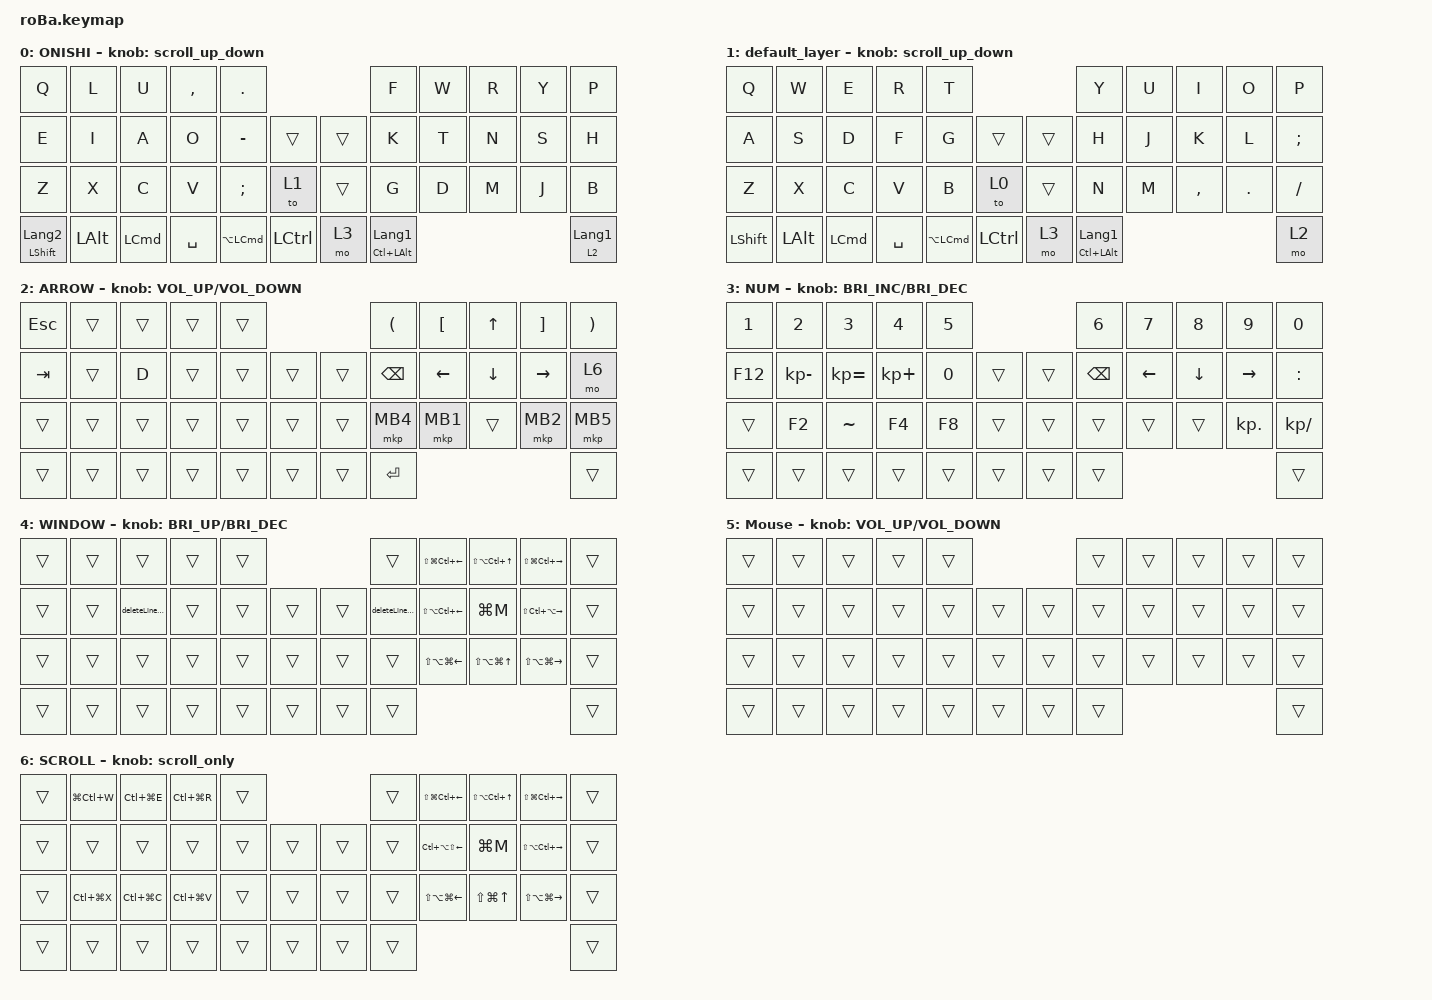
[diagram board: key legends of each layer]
#include <behaviors.dtsi>
#include <dt-bindings/zmk/keys.h>
#include <dt-bindings/zmk/pointing.h>

&mt {
    tapping-term-ms = <150>;
    flavor = "tap-preferred";
};

&lt {
    flavor = "hold-preferred";
    tapping-term-ms = <110>;
    quick-tap-ms = <80>;
};

/ {
    combos {
        compatible = "zmk,combos";

        double_quotation {
            bindings = <&kp APOSTROPHE>;
            key-positions = <32 31>;
        };

        PW {
            bindings = <&PW>;
            key-positions = <18 19 20>;
        };

        pw2 {
            bindings = <&pw2>;
            key-positions = <17 18 19>;
        };

        back-quote {
            bindings = <&kp GRAVE>;
            key-positions = <30 31>;
        };

        minus {
            bindings = <&kp MINUS>;
            key-positions = <18 19>;
        };

        backspace {
            bindings = <&kp BACKSPACE>;
            key-positions = <17 18>;
        };

        delete {
            bindings = <&kp DELETE>;
            key-positions = <29 30>;
        };

        equal {
            bindings = <&kp EQUAL>;
            key-positions = <20 19>;
        };

        backslash {
            bindings = <&kp BACKSLASH>;
            key-positions = <7 8>;
        };

        slash {
            bindings = <&kp SLASH>;
            key-positions = <6 7>;
        };

        semicolon {
            bindings = <&kp SEMICOLON>;
            key-positions = <21 20>;
        };

        commandSpace {
            bindings = <&ctrlSpace>;
            key-positions = <13 12>;
        };
    };

    macros {
        PW: PW {
            compatible = "zmk,behavior-macro";
            #binding-cells = <0>;
            bindings = <&kp T &kp I &kp M &kp E &kp S &kp P &kp A &kp C &kp E &kp R &kp N8 &kp N1 &kp N7>;
            label = "PW";
        };

        divider: divider {
            compatible = "zmk,behavior-macro";
            #binding-cells = <0>;
            bindings = <&kp LANGUAGE_2 &kp FSLH>;
            label = "DIVIDER";
        };

        pw2: pw2 {
            compatible = "zmk,behavior-macro";
            #binding-cells = <0>;
            bindings = <&none &kp T &kp I &kp M &kp E &kp AT &kp LS(S) &kp P &kp A &kp C &kp E &kp R &kp N8 &kp N1 &kp N7>;
            label = "PW2";
        };

        deleteLineBackword: deleteLine {
            compatible = "zmk,behavior-macro";
            #binding-cells = <0>;
            bindings = <&kp LS(LG(LEFT)) &kp BACKSPACE>;
            label = "DELETELINE";
        };

        deleteLineForward: deleteLineForward {
            compatible = "zmk,behavior-macro";
            #binding-cells = <0>;
            bindings = <&kp LS(LG(RIGHT_ARROW)) &kp BACKSPACE>;
            label = "DELETELINEFORWARD";
        };

        ctrlSpace: ctrlSpace {
            compatible = "zmk,behavior-macro";
            #binding-cells = <0>;
            bindings = <&kp LEFT_COMMAND &kp SPACE>;
            label = "CTRLSPACE";
        };
    };

    behaviors {
        scroll_up_down: scroll_up_down {
            compatible = "zmk,behavior-sensor-rotate";
            label = "SCROLL_UP_DOWN";
            #sensor-binding-cells = <0>;
            bindings = <&msc MOVE_Y(5)>, <&msc SCRL_DOWN>;
        };

        scroll_only: scroll_only {
            compatible = "zmk,behavior-sensor-rotate";
            label = "SCROLL_ONLY";
            #sensor-binding-cells = <0>;
            bindings = <&msc SCRL_UP>, <&msc SCRL_DOWN>;
        };
    };

    keymap {
        compatible = "zmk,keymap";

        ONISHI {
            bindings = <
&kp Q                      &kp L         &kp U             &kp COMMA  &kp DOT                                             &kp F                        &kp W  &kp R  &kp Y  &kp P
&kp E                      &kp I         &kp A             &kp O      &kp MINUS             &trans                &trans  &kp K                        &kp T  &kp N  &kp S  &kp H
&kp Z                      &kp X         &kp C             &kp V      &kp SEMI              &to 1                 &trans  &kp G                        &kp D  &kp M  &kp J  &kp B
&mt LEFT_SHIFT LANGUAGE_2  &kp LEFT_ALT  &kp LEFT_COMMAND  &kp SPACE  &kp LA(LEFT_COMMAND)  &kp LEFT_CONTROL      &mo 3   &mt LC(LEFT_ALT) LANGUAGE_1                       &lt 2 LANGUAGE_1
            >;

            sensor-bindings = <&scroll_up_down>;
        };

        default_layer {
            bindings = <
&kp Q           &kp W         &kp E             &kp R      &kp T                                               &kp Y                        &kp U  &kp I      &kp O    &kp P
&kp A           &kp S         &kp D             &kp F      &kp G                 &trans                &trans  &kp H                        &kp J  &kp K      &kp L    &kp SEMICOLON
&kp Z           &kp X         &kp C             &kp V      &kp B                 &to 0                 &trans  &kp N                        &kp M  &kp COMMA  &kp DOT  &kp SLASH
&kp LEFT_SHIFT  &kp LEFT_ALT  &kp LEFT_COMMAND  &kp SPACE  &kp LA(LEFT_COMMAND)  &kp LEFT_CONTROL      &mo 3   &mt LC(LEFT_ALT) LANGUAGE_1                             &mo 2
            >;

            sensor-bindings = <&scroll_up_down>;
        };

        ARROW {
            bindings = <
&kp ESCAPE  &trans  &trans  &trans  &trans                      &kp LPAR       &kp LEFT_BRACKET  &kp UP_ARROW    &kp RIGHT_BRACKET  &kp RPAR
&kp TAB     &trans  &kp D   &trans  &trans  &trans      &trans  &kp BACKSPACE  &kp LEFT          &kp DOWN_ARROW  &kp RIGHT          &mo 6
&trans      &trans  &trans  &trans  &trans  &trans      &trans  &mkp MB4       &mkp MB1          &trans          &mkp MB2           &mkp MB5
&trans      &trans  &trans  &trans  &trans  &trans      &trans  &kp ENTER                                                           &trans
            >;

            sensor-bindings = <&inc_dec_kp K_VOLUME_UP K_VOLUME_DOWN>;
        };

        NUM {
            bindings = <
&kp N1   &kp N2        &kp N3        &kp N4       &kp N5                      &kp N6         &kp N7          &kp N8          &kp N9           &kp N0
&kp F12  &kp KP_MINUS  &kp KP_EQUAL  &kp KP_PLUS  &kp N0  &trans      &trans  &kp BACKSPACE  &kp LEFT_ARROW  &kp DOWN_ARROW  &kp RIGHT_ARROW  &kp COLON
&trans   &kp F2        &kp TILDE     &kp F4       &kp F8  &trans      &trans  &trans         &trans          &trans          &kp KP_DOT       &kp KP_DIVIDE
&trans   &trans        &trans        &trans       &trans  &trans      &trans  &trans                                                          &trans
            >;

            sensor-bindings = <&inc_dec_kp C_BRIGHTNESS_INC C_BRIGHTNESS_DEC>;
        };

        WINDOW {
            bindings = <
&trans  &trans  &trans              &trans  &trans                      &trans               &kp LS(LG(LC(LEFT)))        &kp LS(LA(LC(UP_ARROW)))  &kp LS(LG(LC(RIGHT)))        &trans
&trans  &trans  &deleteLineForward  &trans  &trans  &trans      &trans  &deleteLineBackword  &kp LS(LA(LC(LEFT)))        &kp LG(M)                 &kp LS(LC(LA(RIGHT_ARROW)))  &trans
&trans  &trans  &trans              &trans  &trans  &trans      &trans  &trans               &kp LS(LA(LG(LEFT_ARROW)))  &kp LS(LA(LG(UP_ARROW)))  &kp LS(LA(LG(RIGHT)))        &trans
&trans  &trans  &trans              &trans  &trans  &trans      &trans  &trans                                                                                                  &trans
            >;

            sensor-bindings = <&inc_dec_kp C_BRI_UP C_BRI_DEC>;
        };

        Mouse {
            bindings = <
&trans  &trans  &trans  &trans  &trans                      &trans  &trans  &trans  &trans  &trans
&trans  &trans  &trans  &trans  &trans  &trans      &trans  &trans  &trans  &trans  &trans  &trans
&trans  &trans  &trans  &trans  &trans  &trans      &trans  &trans  &trans  &trans  &trans  &trans
&trans  &trans  &trans  &trans  &trans  &trans      &trans  &trans                          &trans
            >;

            sensor-bindings = <&inc_dec_kp K_VOLUME_UP K_VOLUME_DOWN>;
        };

        SCROLL {
            bindings = <
&trans  &kp LG(LC(W))  &kp LC(LG(E))  &kp LC(LG(R))  &trans                      &trans  &kp LS(LG(LC(LEFT)))  &kp LS(LA(LC(UP_ARROW)))  &kp LS(LG(LC(RIGHT)))  &trans
&trans  &trans         &trans         &trans         &trans  &trans      &trans  &trans  &kp LC(LA(LS(LEFT)))  &kp LG(M)                 &kp LS(LA(LC(RIGHT)))  &trans
&trans  &kp LC(LG(X))  &kp LC(LG(C))  &kp LC(LG(V))  &trans  &trans      &trans  &trans  &kp LS(LA(LG(LEFT)))  &kp LS(LG(UP_ARROW))      &kp LS(LA(LG(RIGHT)))  &trans
&trans  &trans         &trans         &trans         &trans  &trans      &trans  &trans                                                                         &trans
            >;

            sensor-bindings = <&scroll_only>;
        };
    };
};
